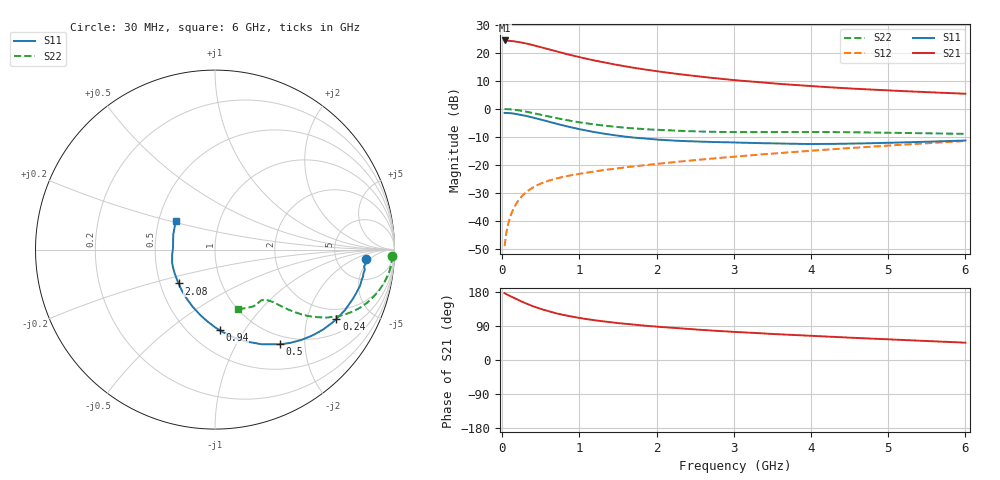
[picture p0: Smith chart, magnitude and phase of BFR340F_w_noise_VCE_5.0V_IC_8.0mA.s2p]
! Infineon Technologies  Discrete & RF Semiconductors
! BFR340F
! VCE =  5.0 V,  IC =  8.0 mA
! Common Emitter S-Parameters:  Nov 2015
# GHz  S  MA  R  50
!  f  S11  S21  S12  S22
! GHz  MAG  ANG  MAG  ANG  MAG  ANG  MAG  ANG
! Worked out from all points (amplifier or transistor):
!   206 points, 30 MHz to 6 GHz, reference 50 ohm
!   highest |S21| = 24.4 dB at 30 MHz (marker M1)
!   |S21| within 3 dB of that: start of sweep to 578.4 MHz
!   unconditionally stable (mu >= 1): 2.681 GHz to 5.534 GHz
!   at 200 MHz: K = 0.16, MSG = 28.5 dB, |S12| = -33.1 dB
!   at 1.56 GHz: K = 0.84, MSG = 18.2 dB, |S12| = -21.1 dB
!   at 6 GHz: K = 0.99, MSG = 8.4 dB, |S12| = -11.5 dB
!   lowest NFmin = 1.32 dB at 450 MHz
!   S11 on the Smith chart (normalised r, x): 30 MHz: 10, -4; 240 MHz: 1.55, -3.05; 500 MHz: 0.86, -1.54; 940 MHz: 0.69, -0.78; 2.08 GHz: 0.62, -0.25; 6 GHz: 0.61, +0.21
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0.03  0.8431 -3.7  16.6 176.3  0.0035 86.4  0.987 -2.0
0.05  0.8361 -6.4  16.44 173.7  0.0059 86.7  0.986 -3.5
0.07  0.8371 -9.1  16.49 171.9  0.0081 84.7  0.9843 -5.0
0.14  0.8211 -17.8  16.14 165.1  0.0158 80.9  0.966 -10.0
0.24  0.7793 -29.7  15.35 155.3  0.026 75.0  0.9234 -16.4
0.36  0.717 -42.5  14.11 144.8  0.0363 69.6  0.8586 -22.8
0.5  0.6394 -55.6  12.57 134.7  0.0461 64.9  0.7797 -28.4
0.6  0.5871 -63.9  11.54 128.4  0.0517 62.5  0.7274 -31.4
0.7  0.5405 -71.3  10.59 123.1  0.0567 60.9  0.6804 -33.6
0.8  0.4992 -78.1  9.747 118.5  0.0611 59.8  0.6394 -35.4
0.94  0.4496 -86.7  8.743 113.1  0.0666 58.8  0.5909 -37.2
1.04  0.4201 -92.3  8.116 109.7  0.0704 58.5  0.5616 -38.1
1.2  0.3813 -100.9  7.255 104.7  0.0761 58.4  0.5221 -39.4
1.44  0.3383 -112.4  6.242 98.8  0.0843 58.7  0.4788 -40.7
1.7  0.3056 -123.6  5.407 93.3  0.0931 59.3  0.4456 -41.8
2.02  0.2805 -135.1  4.645 87.7  0.104 60.3  0.4191 -43.0
2.08  0.2769 -137.1  4.528 86.8  0.1061 60.4  0.4154 -43.3
2.6  0.2572 -153.3  3.7 79.2  0.1245 61.7  0.3904 -45.8
3.1  0.2473 -164.9  3.167 73.2  0.1429 62.5  0.382 -48.7
4.1  0.2345 176.3  2.484 62.8  0.1818 63.2  0.3843 -53.5
5.1  0.2484 158.5  2.094 53.6  0.2239 62.6  0.3714 -61.0
6  0.2705 143.8  1.854 45.7  0.2656 61.2  0.3552 -68.9
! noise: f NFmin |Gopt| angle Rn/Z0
0.45  1.32  0.34  1  0.29
0.9  1.37  0.33  10  0.32
1.9  1.68  0.2  6  0.3
2.4  1.87  0.15  18  0.3
